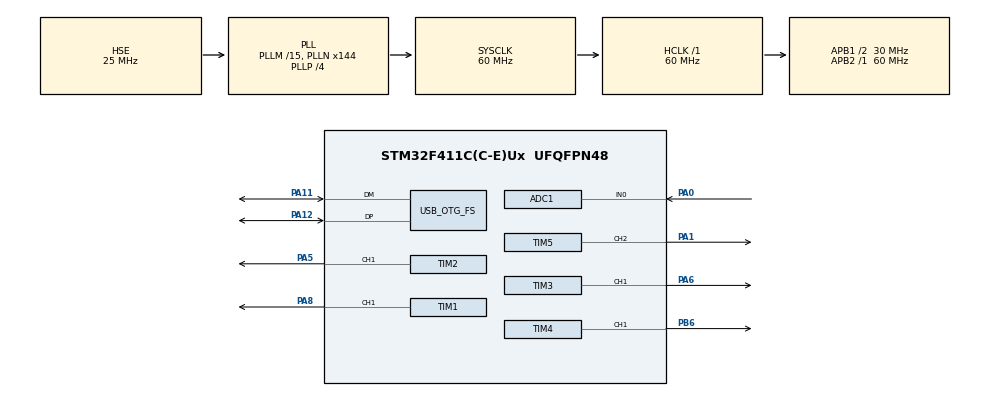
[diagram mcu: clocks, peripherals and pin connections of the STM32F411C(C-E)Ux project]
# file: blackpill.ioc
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ADC1.Channel-4\#ChannelRegularConversion=ADC_CHANNEL_0
ADC1.DMAContinuousRequests=ENABLE
ADC1.ExternalTrigConv=ADC_EXTERNALTRIGCONV_T3_TRGO
ADC1.NbrOfConversionFlag=1
ADC1.Rank-4\#ChannelRegularConversion=1
ADC1.SamplingTime-4\#ChannelRegularConversion=ADC_SAMPLETIME_3CYCLES
ADC1.master=1
Dma.ADC1.0.Direction=DMA_PERIPH_TO_MEMORY
Dma.ADC1.0.FIFOMode=DMA_FIFOMODE_DISABLE
Dma.ADC1.0.Instance=DMA2_Stream0
Dma.ADC1.0.MemDataAlignment=DMA_MDATAALIGN_HALFWORD
Dma.ADC1.0.MemInc=DMA_MINC_ENABLE
Dma.ADC1.0.Mode=DMA_CIRCULAR
Dma.ADC1.0.PeriphDataAlignment=DMA_PDATAALIGN_HALFWORD
Dma.ADC1.0.PeriphInc=DMA_PINC_DISABLE
Dma.ADC1.0.Priority=DMA_PRIORITY_LOW
Dma.Request0=ADC1
Mcu.Family=STM32F4
Mcu.Name=STM32F411C(C-E)Ux
Mcu.Package=UFQFPN48
NVIC.ADC_IRQn=true\:0\:0\:false\:false\:true\:true\:true\:true
NVIC.DMA2_Stream0_IRQn=true\:0\:0\:false\:false\:true\:false\:true\:true
NVIC.OTG_FS_IRQn=true\:0\:0\:false\:false\:true\:false\:true\:true
NVIC.PriorityGroup=NVIC_PRIORITYGROUP_4
PA0-WKUP.Signal=ADCx_IN0
PA1.Signal=S_TIM5_CH2
PA11.Mode=Device_Only
PA11.Signal=USB_OTG_FS_DM
PA12.Mode=Device_Only
PA12.Signal=USB_OTG_FS_DP
PA5.Signal=S_TIM2_CH1_ETR
PA6.Signal=S_TIM3_CH1
PA8.Signal=S_TIM1_CH1
PB6.Signal=S_TIM4_CH1
PH0\ -\ OSC_IN.Mode=HSE-External-Oscillator
PH0\ -\ OSC_IN.Signal=RCC_OSC_IN
PH1\ -\ OSC_OUT.Mode=HSE-External-Oscillator
PH1\ -\ OSC_OUT.Signal=RCC_OSC_OUT
ProjectManager.HeapSize=0x200
ProjectManager.StackSize=0x400
ProjectManager.TargetToolchain=STM32CubeIDE
RCC.48MHZClocksFreq_Value=48000000
RCC.AHBFreq_Value=60000000
RCC.APB1CLKDivider=RCC_HCLK_DIV2
RCC.APB1Freq_Value=30000000
RCC.APB1TimFreq_Value=60000000
RCC.APB2Freq_Value=60000000
RCC.APB2TimFreq_Value=60000000
RCC.CodegenConfigPeriph=true
RCC.CortexFreq_Value=60000000
RCC.HCLKFreq_Value=60000000
RCC.HSE_VALUE=25000000
RCC.HSI_VALUE=16000000
RCC.LSE_Drive_CapabilityArg=+LSE_Drive_Capability
RCC.LSE_VALUE=32768
RCC.PLLM=15
RCC.PLLN=144
RCC.PLLP=RCC_PLLP_DIV4
RCC.PLLQ=5
RCC.SYSCLKFreq_VALUE=60000000
RCC.SYSCLKSource=RCC_SYSCLKSOURCE_PLLCLK
RCC.VCOOutputFreq_Value=240000000
SH.ADCx_IN0.0=ADC1_IN0,IN0
SH.S_TIM1_CH1.0=TIM1_CH1,PWM Generation1 CH1
SH.S_TIM2_CH1_ETR.0=TIM2_CH1,PWM Generation1 CH1
SH.S_TIM3_CH1.0=TIM3_CH1,PWM Generation1 CH1
SH.S_TIM4_CH1.0=TIM4_CH1,PWM Generation1 CH1
SH.S_TIM5_CH2.0=TIM5_CH2,PWM Generation2 CH2
TIM1.Channel-PWM\ Generation1\ CH1=TIM_CHANNEL_1
TIM1.Period=30-1
TIM1.Pulse-PWM\ Generation1\ CH1=15
TIM1.TIM_MasterOutputTrigger=TIM_TRGO_UPDATE
TIM2.Channel-PWM\ Generation1\ CH1=TIM_CHANNEL_1
TIM2.OCMode_PWM-PWM\ Generation1\ CH1=TIM_OCMODE_PWM2
TIM2.Period=480000-1
TIM2.Prescaler=0
TIM2.Pulse-PWM\ Generation1\ CH1=390
TIM3.Channel-PWM\ Generation1\ CH1=TIM_CHANNEL_1
TIM3.Period=30-1
TIM3.Prescaler=4-1
TIM3.Pulse-PWM\ Generation1\ CH1=15
TIM3.TIM_MasterOutputTrigger=TIM_TRGO_UPDATE
TIM4.Channel-PWM\ Generation1\ CH1=TIM_CHANNEL_1
TIM4.Period=30-1
TIM4.Prescaler=1000-1
TIM4.Pulse-PWM\ Generation1\ CH1=15
TIM4.TIM_MasterOutputTrigger=TIM_TRGO_UPDATE
TIM5.Channel-PWM\ Generation2\ CH2=TIM_CHANNEL_2
TIM5.OCMode_PWM-PWM\ Generation2\ CH2=TIM_OCMODE_PWM2
TIM5.Period=90-1
TIM5.Pulse-PWM\ Generation2\ CH2=30-1
USB_DEVICE.CLASS_NAME_FS=CDC
USB_DEVICE.VirtualMode=Cdc
USB_DEVICE.VirtualModeFS=Cdc_FS
USB_OTG_FS.VirtualMode=Device_Only
VP_TIM2_VS_ClockSourceITR.Mode=TriggerSource_ITR0
VP_TIM2_VS_ControllerModeTrigger.Mode=Trigger Mode
VP_TIM3_VS_ClockSourceITR.Mode=TriggerSource_ITR0
VP_TIM3_VS_ControllerModeTrigger.Mode=Trigger Mode
VP_TIM4_VS_ClockSourceITR.Mode=TriggerSource_ITR0
VP_TIM4_VS_ControllerModeTrigger.Mode=Trigger Mode
VP_TIM5_VS_ClockSourceITR.Mode=TriggerSource_ITR2
VP_TIM5_VS_ControllerModeTrigger.Mode=Trigger Mode
VP_TIM5_VS_OPM.Mode=OPM_bit
VP_USB_DEVICE_VS_USB_DEVICE_CDC_FS.Mode=CDC_FS
board=custom

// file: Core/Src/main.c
/* USER CODE BEGIN Header */
/**
  ******************************************************************************
  * @file           : main.c
  * @brief          : Main program body
  ******************************************************************************
  * @attention
  *
  * Copyright (c) 2025 STMicroelectronics.
  * All rights reserved.
  *
  * This software is licensed under terms that can be found in the LICENSE file
  * in the root directory of this software component.
  * If no LICENSE file comes with this software, it is provided AS-IS.
  *
  ******************************************************************************
  */
/* USER CODE END Header */
#include "main.h"
#include "usb_device.h"

/* USER CODE BEGIN Includes */
#include "usbd_cdc_if.h"
#include "string.h"
/* USER CODE END Includes */

/* USER CODE BEGIN PD */
#define DMA_SIZE 4000
/* USER CODE END PD */

ADC_HandleTypeDef hadc1;
DMA_HandleTypeDef hdma_adc1;

TIM_HandleTypeDef htim1;
TIM_HandleTypeDef htim2;
TIM_HandleTypeDef htim3;
TIM_HandleTypeDef htim4;
TIM_HandleTypeDef htim5;

/* USER CODE BEGIN PV */
uint16_t DMA_buffer[DMA_SIZE];
uint8_t marked_buffer[DMA_SIZE*2 + 8];

int counter = 0;
/* USER CODE END PV */

void SystemClock_Config(void);
static void MX_GPIO_Init(void);
static void MX_DMA_Init(void);
static void MX_TIM1_Init(void);
static void MX_TIM2_Init(void);
static void MX_TIM3_Init(void);
static void MX_TIM4_Init(void);
static void MX_ADC1_Init(void);
static void MX_TIM5_Init(void);

int main(void)
{

  /* MCU Configuration--------------------------------------------------------*/

  /* Reset of all peripherals, Initializes the Flash interface and the Systick. */
  HAL_Init();

  /* USER CODE BEGIN Init */
  marked_buffer[0] = 0xDE;
  marked_buffer[1] = 0xAD;
  marked_buffer[2] = 0xBE;
  marked_buffer[3] = 0xEF;

  marked_buffer[DMA_SIZE*2 + 4] = 0xFE;
  marked_buffer[DMA_SIZE*2 + 5] = 0xEB;
  marked_buffer[DMA_SIZE*2 + 6] = 0xDA;
  marked_buffer[DMA_SIZE*2 + 7] = 0xED;
  /* USER CODE END Init */

  /* Configure the system clock */
  SystemClock_Config();

  /* Initialize all configured peripherals */
  MX_GPIO_Init();
  MX_DMA_Init();
  MX_USB_DEVICE_Init();
  MX_TIM1_Init();
  MX_TIM2_Init();
  MX_TIM3_Init();
  MX_TIM4_Init();
  MX_ADC1_Init();
  MX_TIM5_Init();
  /* USER CODE BEGIN 2 */
  HAL_TIM_PWM_Start(&htim1, TIM_CHANNEL_1);
  HAL_TIM_PWM_Start(&htim2, TIM_CHANNEL_1);
  HAL_TIM_PWM_Start(&htim3, TIM_CHANNEL_1);
  HAL_TIM_PWM_Start(&htim4, TIM_CHANNEL_1);
  HAL_TIM_PWM_Start(&htim5, TIM_CHANNEL_2);

  HAL_ADC_Start_DMA(&hadc1, (uint32_t*) DMA_buffer, DMA_SIZE);

  /* USER CODE END 2 */

  /* Infinite loop */
  while (1)
  {

    /* USER CODE BEGIN 3 */
//	char* foo = "testing";
//	CDC_Transmit_FS((uint8_t*)foo, strlen(foo));
//	CDC_Transmit_FS((uint8_t*)DMA_buffer, DMA_SIZE);
  }
  /* USER CODE END 3 */
}

void SystemClock_Config(void)
{
  RCC_OscInitTypeDef RCC_OscInitStruct = {0};
  RCC_ClkInitTypeDef RCC_ClkInitStruct = {0};

  /** Configure the main internal regulator output voltage
  */
  __HAL_RCC_PWR_CLK_ENABLE();
  __HAL_PWR_VOLTAGESCALING_CONFIG(PWR_REGULATOR_VOLTAGE_SCALE1);

  /** Initializes the RCC Oscillators according to the specified parameters
  * in the RCC_OscInitTypeDef structure.
  */
  RCC_OscInitStruct.OscillatorType = RCC_OSCILLATORTYPE_HSE;
  RCC_OscInitStruct.HSEState = RCC_HSE_ON;
  RCC_OscInitStruct.PLL.PLLState = RCC_PLL_ON;
  RCC_OscInitStruct.PLL.PLLSource = RCC_PLLSOURCE_HSE;
  RCC_OscInitStruct.PLL.PLLM = 15;
  RCC_OscInitStruct.PLL.PLLN = 144;
  RCC_OscInitStruct.PLL.PLLP = RCC_PLLP_DIV4;
  RCC_OscInitStruct.PLL.PLLQ = 5;
  if (HAL_RCC_OscConfig(&RCC_OscInitStruct) != HAL_OK)
  {
    Error_Handler();
  }

  /** Initializes the CPU, AHB and APB buses clocks
  */
  RCC_ClkInitStruct.ClockType = RCC_CLOCKTYPE_HCLK|RCC_CLOCKTYPE_SYSCLK
                              |RCC_CLOCKTYPE_PCLK1|RCC_CLOCKTYPE_PCLK2;
  RCC_ClkInitStruct.SYSCLKSource = RCC_SYSCLKSOURCE_PLLCLK;
  RCC_ClkInitStruct.AHBCLKDivider = RCC_SYSCLK_DIV1;
  RCC_ClkInitStruct.APB1CLKDivider = RCC_HCLK_DIV2;
  RCC_ClkInitStruct.APB2CLKDivider = RCC_HCLK_DIV1;

  if (HAL_RCC_ClockConfig(&RCC_ClkInitStruct, FLASH_LATENCY_1) != HAL_OK)
  {
    Error_Handler();
  }
}

static void MX_ADC1_Init(void)
{

  ADC_ChannelConfTypeDef sConfig = {0};

  /** Configure the global features of the ADC (Clock, Resolution, Data Alignment and number of conversion)
  */
  hadc1.Instance = ADC1;
  hadc1.Init.ClockPrescaler = ADC_CLOCK_SYNC_PCLK_DIV2;
  hadc1.Init.Resolution = ADC_RESOLUTION_12B;
  hadc1.Init.ScanConvMode = DISABLE;
  hadc1.Init.ContinuousConvMode = DISABLE;
  hadc1.Init.DiscontinuousConvMode = DISABLE;
  hadc1.Init.ExternalTrigConvEdge = ADC_EXTERNALTRIGCONVEDGE_RISING;
  hadc1.Init.ExternalTrigConv = ADC_EXTERNALTRIGCONV_T3_TRGO;
  hadc1.Init.DataAlign = ADC_DATAALIGN_RIGHT;
  hadc1.Init.NbrOfConversion = 1;
  hadc1.Init.DMAContinuousRequests = ENABLE;
  hadc1.Init.EOCSelection = ADC_EOC_SINGLE_CONV;
  if (HAL_ADC_Init(&hadc1) != HAL_OK)
  {
    Error_Handler();
  }

  /** Configure for the selected ADC regular channel its corresponding rank in the sequencer and its sample time.
  */
  sConfig.Channel = ADC_CHANNEL_0;
  sConfig.Rank = 1;
  sConfig.SamplingTime = ADC_SAMPLETIME_3CYCLES;
  if (HAL_ADC_ConfigChannel(&hadc1, &sConfig) != HAL_OK)
  {
    Error_Handler();
  }

}

static void MX_TIM1_Init(void)
{

  TIM_MasterConfigTypeDef sMasterConfig = {0};
  TIM_OC_InitTypeDef sConfigOC = {0};
  TIM_BreakDeadTimeConfigTypeDef sBreakDeadTimeConfig = {0};

  htim1.Instance = TIM1;
  htim1.Init.Prescaler = 0;
  htim1.Init.CounterMode = TIM_COUNTERMODE_UP;
  htim1.Init.Period = 30-1;
  htim1.Init.ClockDivision = TIM_CLOCKDIVISION_DIV1;
  htim1.Init.RepetitionCounter = 0;
  htim1.Init.AutoReloadPreload = TIM_AUTORELOAD_PRELOAD_DISABLE;
  if (HAL_TIM_PWM_Init(&htim1) != HAL_OK)
  {
    Error_Handler();
  }
  sMasterConfig.MasterOutputTrigger = TIM_TRGO_UPDATE;
  sMasterConfig.MasterSlaveMode = TIM_MASTERSLAVEMODE_DISABLE;
  if (HAL_TIMEx_MasterConfigSynchronization(&htim1, &sMasterConfig) != HAL_OK)
  {
    Error_Handler();
  }
  sConfigOC.OCMode = TIM_OCMODE_PWM1;
  sConfigOC.Pulse = 15;
  sConfigOC.OCPolarity = TIM_OCPOLARITY_HIGH;
  sConfigOC.OCNPolarity = TIM_OCNPOLARITY_HIGH;
  sConfigOC.OCFastMode = TIM_OCFAST_DISABLE;
  sConfigOC.OCIdleState = TIM_OCIDLESTATE_RESET;
  sConfigOC.OCNIdleState = TIM_OCNIDLESTATE_RESET;
  if (HAL_TIM_PWM_ConfigChannel(&htim1, &sConfigOC, TIM_CHANNEL_1) != HAL_OK)
  {
    Error_Handler();
  }
  sBreakDeadTimeConfig.OffStateRunMode = TIM_OSSR_DISABLE;
  sBreakDeadTimeConfig.OffStateIDLEMode = TIM_OSSI_DISABLE;
  sBreakDeadTimeConfig.LockLevel = TIM_LOCKLEVEL_OFF;
  sBreakDeadTimeConfig.DeadTime = 0;
  sBreakDeadTimeConfig.BreakState = TIM_BREAK_DISABLE;
  sBreakDeadTimeConfig.BreakPolarity = TIM_BREAKPOLARITY_HIGH;
  sBreakDeadTimeConfig.AutomaticOutput = TIM_AUTOMATICOUTPUT_DISABLE;
  if (HAL_TIMEx_ConfigBreakDeadTime(&htim1, &sBreakDeadTimeConfig) != HAL_OK)
  {
    Error_Handler();
  }
  HAL_TIM_MspPostInit(&htim1);

}

static void MX_TIM2_Init(void)
{

  TIM_SlaveConfigTypeDef sSlaveConfig = {0};
  TIM_MasterConfigTypeDef sMasterConfig = {0};
  TIM_OC_InitTypeDef sConfigOC = {0};

  htim2.Instance = TIM2;
  htim2.Init.Prescaler = 0;
  htim2.Init.CounterMode = TIM_COUNTERMODE_UP;
  htim2.Init.Period = 480000-1;
  htim2.Init.ClockDivision = TIM_CLOCKDIVISION_DIV1;
  htim2.Init.AutoReloadPreload = TIM_AUTORELOAD_PRELOAD_DISABLE;
  if (HAL_TIM_Base_Init(&htim2) != HAL_OK)
  {
    Error_Handler();
  }
  if (HAL_TIM_PWM_Init(&htim2) != HAL_OK)
  {
    Error_Handler();
  }
  sSlaveConfig.SlaveMode = TIM_SLAVEMODE_TRIGGER;
  sSlaveConfig.InputTrigger = TIM_TS_ITR0;
  if (HAL_TIM_SlaveConfigSynchro(&htim2, &sSlaveConfig) != HAL_OK)
  {
    Error_Handler();
  }
  sMasterConfig.MasterOutputTrigger = TIM_TRGO_RESET;
  sMasterConfig.MasterSlaveMode = TIM_MASTERSLAVEMODE_DISABLE;
  if (HAL_TIMEx_MasterConfigSynchronization(&htim2, &sMasterConfig) != HAL_OK)
  {
    Error_Handler();
  }
  sConfigOC.OCMode = TIM_OCMODE_PWM2;
  sConfigOC.Pulse = 390;
  sConfigOC.OCPolarity = TIM_OCPOLARITY_HIGH;
  sConfigOC.OCFastMode = TIM_OCFAST_DISABLE;
  if (HAL_TIM_PWM_ConfigChannel(&htim2, &sConfigOC, TIM_CHANNEL_1) != HAL_OK)
  {
    Error_Handler();
  }
  HAL_TIM_MspPostInit(&htim2);

}

static void MX_TIM3_Init(void)
{

  TIM_SlaveConfigTypeDef sSlaveConfig = {0};
  TIM_MasterConfigTypeDef sMasterConfig = {0};
  TIM_OC_InitTypeDef sConfigOC = {0};

  htim3.Instance = TIM3;
  htim3.Init.Prescaler = 4-1;
  htim3.Init.CounterMode = TIM_COUNTERMODE_UP;
  htim3.Init.Period = 30-1;
  htim3.Init.ClockDivision = TIM_CLOCKDIVISION_DIV1;
  htim3.Init.AutoReloadPreload = TIM_AUTORELOAD_PRELOAD_DISABLE;
  if (HAL_TIM_Base_Init(&htim3) != HAL_OK)
  {
    Error_Handler();
  }
  if (HAL_TIM_PWM_Init(&htim3) != HAL_OK)
  {
    Error_Handler();
  }
  sSlaveConfig.SlaveMode = TIM_SLAVEMODE_TRIGGER;
  sSlaveConfig.InputTrigger = TIM_TS_ITR0;
  if (HAL_TIM_SlaveConfigSynchro(&htim3, &sSlaveConfig) != HAL_OK)
  {
    Error_Handler();
  }
  sMasterConfig.MasterOutputTrigger = TIM_TRGO_UPDATE;
  sMasterConfig.MasterSlaveMode = TIM_MASTERSLAVEMODE_DISABLE;
  if (HAL_TIMEx_MasterConfigSynchronization(&htim3, &sMasterConfig) != HAL_OK)
  {
    Error_Handler();
  }
  sConfigOC.OCMode = TIM_OCMODE_PWM1;
  sConfigOC.Pulse = 15;
  sConfigOC.OCPolarity = TIM_OCPOLARITY_HIGH;
  sConfigOC.OCFastMode = TIM_OCFAST_DISABLE;
  if (HAL_TIM_PWM_ConfigChannel(&htim3, &sConfigOC, TIM_CHANNEL_1) != HAL_OK)
  {
    Error_Handler();
  }
  HAL_TIM_MspPostInit(&htim3);

}

static void MX_TIM4_Init(void)
{

  TIM_SlaveConfigTypeDef sSlaveConfig = {0};
  TIM_MasterConfigTypeDef sMasterConfig = {0};
  TIM_OC_InitTypeDef sConfigOC = {0};

  htim4.Instance = TIM4;
  htim4.Init.Prescaler = 1000-1;
  htim4.Init.CounterMode = TIM_COUNTERMODE_UP;
  htim4.Init.Period = 30-1;
  htim4.Init.ClockDivision = TIM_CLOCKDIVISION_DIV1;
  htim4.Init.AutoReloadPreload = TIM_AUTORELOAD_PRELOAD_DISABLE;
  if (HAL_TIM_Base_Init(&htim4) != HAL_OK)
  {
    Error_Handler();
  }
  if (HAL_TIM_PWM_Init(&htim4) != HAL_OK)
  {
    Error_Handler();
  }
  sSlaveConfig.SlaveMode = TIM_SLAVEMODE_TRIGGER;
  sSlaveConfig.InputTrigger = TIM_TS_ITR0;
  if (HAL_TIM_SlaveConfigSynchro(&htim4, &sSlaveConfig) != HAL_OK)
  {
    Error_Handler();
  }
  sMasterConfig.MasterOutputTrigger = TIM_TRGO_UPDATE;
  sMasterConfig.MasterSlaveMode = TIM_MASTERSLAVEMODE_DISABLE;
  if (HAL_TIMEx_MasterConfigSynchronization(&htim4, &sMasterConfig) != HAL_OK)
  {
    Error_Handler();
  }
  sConfigOC.OCMode = TIM_OCMODE_PWM1;
  sConfigOC.Pulse = 15;
  sConfigOC.OCPolarity = TIM_OCPOLARITY_HIGH;
  sConfigOC.OCFastMode = TIM_OCFAST_DISABLE;
  if (HAL_TIM_PWM_ConfigChannel(&htim4, &sConfigOC, TIM_CHANNEL_1) != HAL_OK)
  {
    Error_Handler();
  }
  HAL_TIM_MspPostInit(&htim4);

}

static void MX_TIM5_Init(void)
{

  TIM_SlaveConfigTypeDef sSlaveConfig = {0};
  TIM_MasterConfigTypeDef sMasterConfig = {0};
  TIM_OC_InitTypeDef sConfigOC = {0};

  htim5.Instance = TIM5;
  htim5.Init.Prescaler = 0;
  htim5.Init.CounterMode = TIM_COUNTERMODE_UP;
  htim5.Init.Period = 90-1;
  htim5.Init.ClockDivision = TIM_CLOCKDIVISION_DIV1;
  htim5.Init.AutoReloadPreload = TIM_AUTORELOAD_PRELOAD_DISABLE;
  if (HAL_TIM_Base_Init(&htim5) != HAL_OK)
  {
    Error_Handler();
  }
  if (HAL_TIM_PWM_Init(&htim5) != HAL_OK)
  {
    Error_Handler();
  }
  if (HAL_TIM_OnePulse_Init(&htim5, TIM_OPMODE_SINGLE) != HAL_OK)
  {
    Error_Handler();
  }
  sSlaveConfig.SlaveMode = TIM_SLAVEMODE_TRIGGER;
  sSlaveConfig.InputTrigger = TIM_TS_ITR2;
  if (HAL_TIM_SlaveConfigSynchro(&htim5, &sSlaveConfig) != HAL_OK)
  {
    Error_Handler();
  }
  sMasterConfig.MasterOutputTrigger = TIM_TRGO_RESET;
  sMasterConfig.MasterSlaveMode = TIM_MASTERSLAVEMODE_DISABLE;
  if (HAL_TIMEx_MasterConfigSynchronization(&htim5, &sMasterConfig) != HAL_OK)
  {
    Error_Handler();
  }
  sConfigOC.OCMode = TIM_OCMODE_PWM2;
  sConfigOC.Pulse = 30-1;
  sConfigOC.OCPolarity = TIM_OCPOLARITY_HIGH;
  sConfigOC.OCFastMode = TIM_OCFAST_DISABLE;
  if (HAL_TIM_PWM_ConfigChannel(&htim5, &sConfigOC, TIM_CHANNEL_2) != HAL_OK)
  {
    Error_Handler();
  }
  HAL_TIM_MspPostInit(&htim5);

}

static void MX_DMA_Init(void)
{

  /* DMA controller clock enable */
  __HAL_RCC_DMA2_CLK_ENABLE();

  /* DMA interrupt init */
  /* DMA2_Stream0_IRQn interrupt configuration */
  HAL_NVIC_SetPriority(DMA2_Stream0_IRQn, 0, 0);
  HAL_NVIC_EnableIRQ(DMA2_Stream0_IRQn);

}

static void MX_GPIO_Init(void)
{

  /* GPIO Ports Clock Enable */
  __HAL_RCC_GPIOH_CLK_ENABLE();
  __HAL_RCC_GPIOA_CLK_ENABLE();
  __HAL_RCC_GPIOB_CLK_ENABLE();

}

/* USER CODE BEGIN 4 */
void HAL_ADC_ConvCpltCallback(ADC_HandleTypeDef *hadc) {
//	char* data = "Callback Complete!";
//	CDC_Transmit_FS((uint8_t*)data, strlen(data));

    if (hadc->Instance == ADC1) {
		counter = counter % 10;
		if (counter++ == 0) {
			memcpy(&marked_buffer[4], DMA_buffer, DMA_SIZE*2);
			CDC_Transmit_FS((uint8_t*)marked_buffer, sizeof(marked_buffer));
		}
    }
}
/* USER CODE END 4 */

void Error_Handler(void)
{
  __disable_irq();
  while (1)
  {
  }
}
